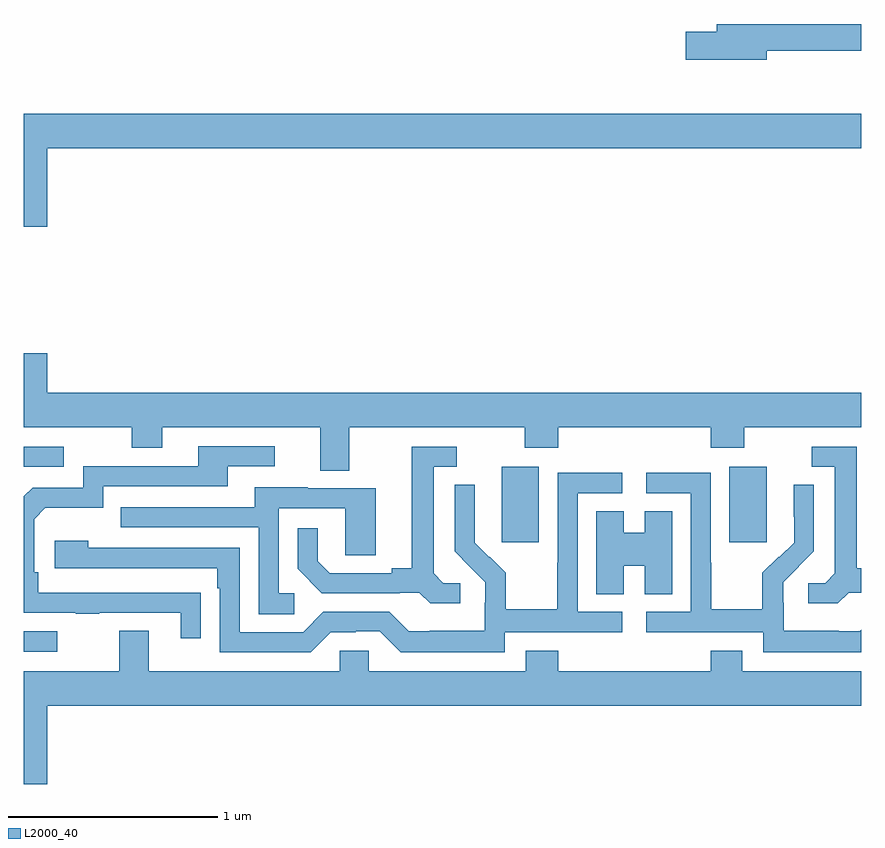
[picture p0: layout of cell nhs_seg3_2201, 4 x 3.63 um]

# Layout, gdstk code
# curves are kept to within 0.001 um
import gdstk
lib = gdstk.Library(unit=1e-6, precision=1e-09)
def R(c, l, rs):  # rectangles x0, y0, x1, y1
    for r in rs: c.add(gdstk.rectangle(r[:2], r[2:], *l))
def P(c, l, *ps):  # polygons
    for p in ps: c.add(gdstk.Polygon(p, *l))
L2000_40 = (2000, 40)

nhs_seg3_2201 = lib.new_cell('nhs_seg3_2201')
R(nhs_seg3_2201, L2000_40, [(225,685.191,225.16,685.287), (227.282,685.713,227.461,686.074), (228.371,685.713,228.55,686.074), (225,686.073,225.19,686.169)])
P(nhs_seg3_2201, L2000_40, [(228.55,688.062),(229,688.062),(229,688.19),(228.311,688.19),(228.311,688.154),(228.162,688.154),(228.162,688.019),(228.55,688.019)],
  [(225.112,687.596),(229,687.596),(229,687.76),(225,687.76),(225,687.222),(225.112,687.222)],
  [(226.555,686.264),(227.392,686.264),(227.392,686.165),(227.552,686.165),(227.552,686.264),(228.281,686.264),(228.281,686.165),(228.441,686.165),(228.441,686.264),(229,686.264),(229,686.428),(225.112,686.428),(225.112,686.617),(225,686.617),(225,686.264),(225.514,686.264),(225.514,686.165),(225.661,686.165),(225.661,686.264),(226.415,686.264),(226.415,686.056),(226.555,686.056)],
  [(225.845,685.472),(225.068,685.473),(225.068,685.57),(225.048,685.57),(225.048,685.824),(225.101,685.877),(225.378,685.877),(225.378,685.98),(225.973,685.98),(225.973,686.076),(226.198,686.076),(226.198,686.172),(225.833,686.172),(225.833,686.076),(225.282,686.076),(225.282,685.974),(225.042,685.974),(225,685.932),(225,685.377),(225.247,685.377),(225.247,685.372),(225.359,685.372),(225.359,685.377),(225.749,685.377),(225.749,685.254),(225.845,685.254)],
  [(228.942,685.473),(229,685.473),(229,685.589),(228.979,685.589),(228.979,686.169),(228.765,686.169),(228.765,686.073),(228.875,686.073),(228.875,685.565),(228.828,685.518),(228.747,685.518),(228.747,685.421),(228.89,685.421)],
  [(227.086,685.518),(227.004,685.518),(226.957,685.565),(226.957,686.073),(227.068,686.073),(227.068,686.169),(226.853,686.169),(226.853,685.589),(226.757,685.589),(226.757,685.566),(226.462,685.566),(226.405,685.623),(226.405,685.78),(226.308,685.78),(226.308,685.586),(226.424,685.47),(226.796,685.47),(226.796,685.473),(226.89,685.473),(226.942,685.421),(227.086,685.421)],
  [(227.298,685.284),(227.86,685.284),(227.86,685.38),(227.646,685.38),(227.646,685.947),(227.86,685.947),(227.86,686.046),(227.55,686.046),(227.55,685.616),(227.548,685.616),(227.548,685.393),(227.303,685.393),(227.303,685.567),(227.226,685.644),(227.223,685.641),(227.153,685.712),(227.154,685.988),(227.058,685.988),(227.058,685.67),(227.204,685.522),(227.204,685.425),(227.202,685.425),(227.202,685.291),(226.939,685.291),(226.939,685.287),(226.839,685.287),(226.746,685.38),(226.431,685.38),(226.335,685.284),(226.032,685.284),(226.032,685.686),(225.308,685.686),(225.308,685.72),(225.147,685.72),(225.147,685.59),(225.923,685.59),(225.923,685.493),(225.936,685.493),(225.936,685.188),(226.371,685.188),(226.467,685.284),(226.586,685.284),(226.586,685.287),(226.701,685.287),(226.801,685.187),(227.298,685.187)],
  [(229,685.294),(228.993,685.287),(228.893,685.287),(228.893,685.291),(228.63,685.291),(228.63,685.425),(228.628,685.425),(228.628,685.522),(228.774,685.67),(228.774,685.988),(228.678,685.988),(228.678,685.834),(228.68,685.834),(228.68,685.712),(228.609,685.641),(228.606,685.644),(228.529,685.567),(228.529,685.393),(228.285,685.393),(228.285,685.616),(228.282,685.616),(228.282,686.046),(227.973,686.046),(227.973,685.947),(228.186,685.947),(228.186,685.38),(227.973,685.38),(227.973,685.284),(228.534,685.284),(228.534,685.187),(229,685.187)],
  [(226.291,685.47),(226.218,685.47),(226.218,685.875),(226.536,685.875),(226.536,685.651),(226.681,685.651),(226.681,685.971),(226.357,685.971),(226.357,685.975),(226.103,685.975),(226.103,685.881),(225.463,685.881),(225.463,685.785),(226.122,685.785),(226.122,685.369),(226.291,685.369)],
  [(227.866,685.601),(227.966,685.601),(227.966,685.465),(228.097,685.465),(228.097,685.862),(227.966,685.862),(227.966,685.759),(227.866,685.759),(227.866,685.862),(227.735,685.862),(227.735,685.465),(227.866,685.465)],
  [(229,685.096),(228.433,685.096),(228.433,685.195),(228.281,685.195),(228.281,685.096),(227.552,685.096),(227.552,685.195),(227.399,685.195),(227.399,685.096),(226.647,685.096),(226.647,685.194),(226.509,685.194),(226.509,685.096),(225.595,685.096),(225.595,685.291),(225.455,685.291),(225.455,685.096),(225,685.096),(225,684.558),(225.112,684.558),(225.112,684.932),(229,684.932)])

lib.write_gds('nhs_seg3_2201.gds')
